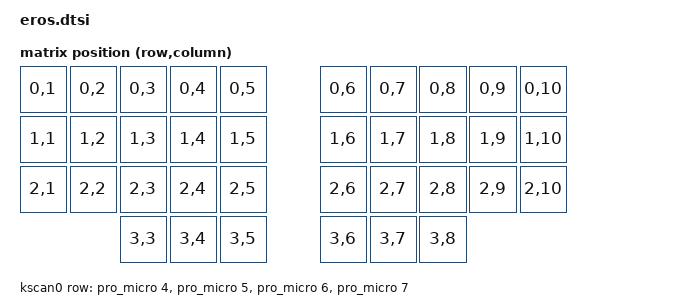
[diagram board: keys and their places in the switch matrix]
#include <dt-bindings/zmk/matrix_transform.h>

/ {
    chosen {
      zmk,kscan = &kscan0;
      zmk,matrix-transform = &default_transform;
    };

    default_transform: keymap_transform_0 {
      compatible = "zmk,matrix-transform";
      columns = <10>;
      rows = <4>;
// | SW2  | SW3  | SW4   | SW5   | SW6  |   | SW6  | SW5   | SW4   | SW3   | SW2  |
// | SW8  | SW9  | SW10  | SW11  | SW12 |   | SW12 | SW11  | SW10  | SW9   | SW8  |
// | SW14 | SW15 | SW16  | SW17  | SW18 |   | SW18 | SW17  | SW16  | SW15  | SW14 |
//               | SW19  | SW20  | SW21 |   | SW21 | SW20  | SW19  |
      map = <
  RC(0,1) RC(0,2) RC(0,3) RC(0,4) RC(0,5)   RC(0,6) RC(0,7) RC(0,8) RC(0,9) RC(0,10)
  RC(1,1) RC(1,2) RC(1,3) RC(1,4) RC(1,5)   RC(1,6) RC(1,7) RC(1,8) RC(1,9) RC(1,10)
  RC(2,1) RC(2,2) RC(2,3) RC(2,4) RC(2,5)   RC(2,6) RC(2,7) RC(2,8) RC(2,9) RC(2,10)
                  RC(3,3) RC(3,4) RC(3,5)   RC(3,6) RC(3,7) RC(3,8)
        >;
    };

    kscan0: kscan {
      compatible = "zmk,kscan-gpio-matrix";
      diode-direction = "col2row";
      wakeup-source;

      row-gpios
          = <&pro_micro 4 (GPIO_ACTIVE_HIGH | GPIO_PULL_DOWN)>
          , <&pro_micro 5 (GPIO_ACTIVE_HIGH | GPIO_PULL_DOWN)>
          , <&pro_micro 6 (GPIO_ACTIVE_HIGH | GPIO_PULL_DOWN)>
          , <&pro_micro 7 (GPIO_ACTIVE_HIGH | GPIO_PULL_DOWN)>
          ;
    };
};

&pinctrl {
  spi1_default: spi1_default {
      group1 {
          psels = <NRF_PSEL(SPIM_SCK, 1, 13)>,
              <NRF_PSEL(SPIM_MOSI, 0, 10)>;
      };
  };

  spi1_sleep: spi1_sleep {
      group1 {
          psels = <NRF_PSEL(SPIM_SCK, 1, 13)>,
              <NRF_PSEL(SPIM_MOSI, 0, 10)>;
      };
  };
};

&pro_micro_spi {
  status = "okay";
  cs-gpios = <&pro_micro 16 GPIO_ACTIVE_LOW>;
  shifter: 595@0 {
    compatible = "zmk,gpio-595";
    status = "okay";
    gpio-controller;
    spi-max-frequency = <200000>;
    reg = <0>;
    #gpio-cells = <2>;
    ngpios = <8>;
  };
};
